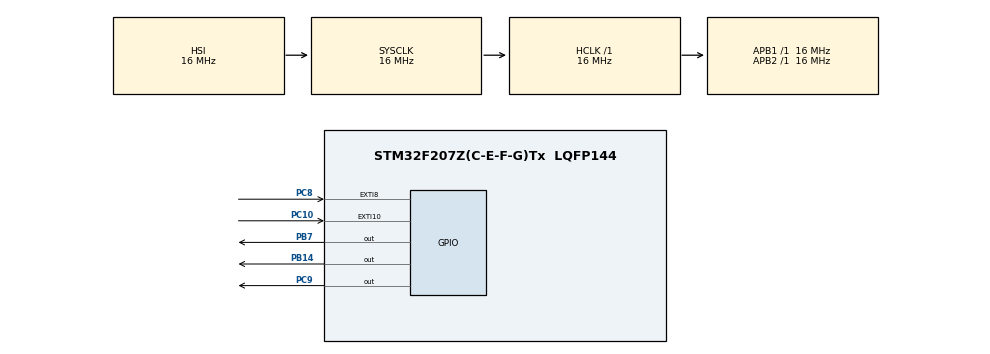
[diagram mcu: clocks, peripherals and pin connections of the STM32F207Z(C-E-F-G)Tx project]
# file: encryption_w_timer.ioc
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Mcu.Family=STM32F2
Mcu.Name=STM32F207Z(C-E-F-G)Tx
Mcu.Package=LQFP144
NVIC.EXTI15_10_IRQn=true\:0\:0\:false\:false\:true\:true\:true\:true
NVIC.EXTI9_5_IRQn=true\:0\:0\:false\:false\:true\:true\:true\:true
NVIC.PriorityGroup=NVIC_PRIORITYGROUP_4
NVIC.TIM3_IRQn=true\:0\:0\:false\:false\:true\:true\:true\:true
PB14.Signal=GPIO_Output
PB7.Signal=GPIO_Output
PC10.GPIO_ModeDefaultEXTI=GPIO_MODE_IT_RISING
PC10.GPIO_PuPd=GPIO_PULLDOWN
PC10.Signal=GPXTI10
PC8.GPIO_ModeDefaultEXTI=GPIO_MODE_IT_RISING
PC8.GPIO_PuPd=GPIO_PULLDOWN
PC8.Signal=GPXTI8
PC9.GPIO_PuPd=GPIO_PULLDOWN
PC9.Signal=GPIO_Output
ProjectManager.HeapSize=0x200
ProjectManager.StackSize=0x400
ProjectManager.TargetToolchain=STM32CubeIDE
RCC.48MHZClocksFreq_Value=48000000
RCC.AHBFreq_Value=16000000
RCC.APB1Freq_Value=16000000
RCC.APB2Freq_Value=16000000
RCC.CortexFreq_Value=16000000
RCC.HSE_VALUE=25000000
RCC.HSI_VALUE=16000000
RCC.LSE_VALUE=32768
RCC.SYSCLKFreq_VALUE=16000000
RCC.VCOOutputFreq_Value=192000000
TIM3.Period=2 - 1
TIM3.Prescaler=1600 - 1
VP_TIM3_VS_ClockSourceINT.Mode=Internal
board=custom

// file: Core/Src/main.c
/* USER CODE BEGIN Header */
/**
  ******************************************************************************
  * @file           : main.c
  * @brief          : Main program body
  ******************************************************************************
  * @attention
  *
  * Copyright (c) 2023 STMicroelectronics.
  * All rights reserved.
  *
  * This software is licensed under terms that can be found in the LICENSE file
  * in the root directory of this software component.
  * If no LICENSE file comes with this software, it is provided AS-IS.
  *
  ******************************************************************************
  */
/* USER CODE END Header */
#include "main.h"

TIM_HandleTypeDef htim3;

/* USER CODE BEGIN PV */
static int index = 0;
int sequence[4] = {8, 10, 8, 8};
int counter = 0;
int counter2 = 0;
/* USER CODE END PV */

void SystemClock_Config(void);
static void MX_GPIO_Init(void);
static void MX_TIM3_Init(void);

/* USER CODE BEGIN 0 */
void HAL_TIM_PeriodElapsedCallback(TIM_HandleTypeDef *htim)
{
	static int i = 0;

	if (i < 5 && counter)
	{
		if (HAL_GPIO_ReadPin(GPIOC, GPIO_PIN_8) == GPIO_PIN_SET)
		{
			i++;
		}
		else {
			i = 0;
			counter = 0;
			HAL_TIM_Base_Stop(&htim3);
		}
	}
	if (i == 5 && counter)
	{
		HAL_GPIO_TogglePin(GPIOB, GPIO_PIN_7);
		if (sequence[index] == 8)
		{
			index++;
			i = 0;
			counter = 0;
		}
		else
		{
			index = 0;
			i = 0;
			counter = 0;
		}
		HAL_TIM_Base_Stop(&htim3);
	}
	if (i < 5 && counter2)
	{
		if (HAL_GPIO_ReadPin(GPIOC, GPIO_PIN_10) == GPIO_PIN_SET)
			i++;
		else
		{
			i = 0;
			counter2 = 0;
			HAL_TIM_Base_Stop(&htim3);
		}
	}
	if (i == 5 && counter2)
	{
		HAL_GPIO_TogglePin(GPIOB, GPIO_PIN_7);
		if (sequence[index] == 10)
		{
			index++;
			i = 0;
			counter2 = 0;
		}
		else
		{
			index = 0;
			i = 0;
			counter2 = 0;
		}
		HAL_TIM_Base_Stop(&htim3);
	}
	if (index == 4)
	{
		HAL_GPIO_TogglePin(GPIOB, GPIO_PIN_14);
		index = 0;
		HAL_TIM_Base_Stop(&htim3);
	}
}

void HAL_GPIO_EXTI_Callback(uint16_t GPIO_Pin)
{
	  if (GPIO_Pin == GPIO_PIN_8)
		  {
			  counter = 1;
			  HAL_TIM_Base_Start(&htim3);
		  }
		  if (GPIO_Pin == GPIO_PIN_10)
		  {
			  counter2 = 1;
			  HAL_TIM_Base_Start(&htim3);
		  }
}

/* USER CODE END 0 */

int main(void)
{

  /* MCU Configuration--------------------------------------------------------*/

  /* Reset of all peripherals, Initializes the Flash interface and the Systick. */
  HAL_Init();

  /* Configure the system clock */
  SystemClock_Config();

  /* Initialize all configured peripherals */
  MX_GPIO_Init();
  MX_TIM3_Init();
  /* USER CODE BEGIN 2 */
  if (__HAL_TIM_GET_FLAG(&htim3, TIM_FLAG_UPDATE) != RESET)
  __HAL_TIM_CLEAR_FLAG(&htim3, TIM_FLAG_UPDATE);
  HAL_TIM_Base_Start_IT(&htim3);
  /* USER CODE END 2 */

  /* Infinite loop */
  while (1)
  {

  }
}

void SystemClock_Config(void)
{
  RCC_OscInitTypeDef RCC_OscInitStruct = {0};
  RCC_ClkInitTypeDef RCC_ClkInitStruct = {0};

  /** Initializes the RCC Oscillators according to the specified parameters
  * in the RCC_OscInitTypeDef structure.
  */
  RCC_OscInitStruct.OscillatorType = RCC_OSCILLATORTYPE_HSI;
  RCC_OscInitStruct.HSIState = RCC_HSI_ON;
  RCC_OscInitStruct.HSICalibrationValue = RCC_HSICALIBRATION_DEFAULT;
  RCC_OscInitStruct.PLL.PLLState = RCC_PLL_NONE;
  if (HAL_RCC_OscConfig(&RCC_OscInitStruct) != HAL_OK)
  {
    Error_Handler();
  }

  /** Initializes the CPU, AHB and APB buses clocks
  */
  RCC_ClkInitStruct.ClockType = RCC_CLOCKTYPE_HCLK|RCC_CLOCKTYPE_SYSCLK
                              |RCC_CLOCKTYPE_PCLK1|RCC_CLOCKTYPE_PCLK2;
  RCC_ClkInitStruct.SYSCLKSource = RCC_SYSCLKSOURCE_HSI;
  RCC_ClkInitStruct.AHBCLKDivider = RCC_SYSCLK_DIV1;
  RCC_ClkInitStruct.APB1CLKDivider = RCC_HCLK_DIV1;
  RCC_ClkInitStruct.APB2CLKDivider = RCC_HCLK_DIV1;

  if (HAL_RCC_ClockConfig(&RCC_ClkInitStruct, FLASH_LATENCY_0) != HAL_OK)
  {
    Error_Handler();
  }
}

static void MX_TIM3_Init(void)
{

  TIM_ClockConfigTypeDef sClockSourceConfig = {0};
  TIM_MasterConfigTypeDef sMasterConfig = {0};

  htim3.Instance = TIM3;
  htim3.Init.Prescaler = 1600 - 1;
  htim3.Init.CounterMode = TIM_COUNTERMODE_UP;
  htim3.Init.Period = 2 - 1;
  htim3.Init.ClockDivision = TIM_CLOCKDIVISION_DIV1;
  htim3.Init.AutoReloadPreload = TIM_AUTORELOAD_PRELOAD_DISABLE;
  if (HAL_TIM_Base_Init(&htim3) != HAL_OK)
  {
    Error_Handler();
  }
  sClockSourceConfig.ClockSource = TIM_CLOCKSOURCE_INTERNAL;
  if (HAL_TIM_ConfigClockSource(&htim3, &sClockSourceConfig) != HAL_OK)
  {
    Error_Handler();
  }
  sMasterConfig.MasterOutputTrigger = TIM_TRGO_RESET;
  sMasterConfig.MasterSlaveMode = TIM_MASTERSLAVEMODE_DISABLE;
  if (HAL_TIMEx_MasterConfigSynchronization(&htim3, &sMasterConfig) != HAL_OK)
  {
    Error_Handler();
  }

}

static void MX_GPIO_Init(void)
{
  GPIO_InitTypeDef GPIO_InitStruct = {0};

  /* GPIO Ports Clock Enable */
  __HAL_RCC_GPIOB_CLK_ENABLE();
  __HAL_RCC_GPIOC_CLK_ENABLE();

  /*Configure GPIO pin Output Level */
  HAL_GPIO_WritePin(GPIOB, GPIO_PIN_14|GPIO_PIN_7, GPIO_PIN_RESET);

  /*Configure GPIO pin Output Level */
  HAL_GPIO_WritePin(GPIOC, GPIO_PIN_9, GPIO_PIN_RESET);

  /*Configure GPIO pins : PB14 PB7 */
  GPIO_InitStruct.Pin = GPIO_PIN_14|GPIO_PIN_7;
  GPIO_InitStruct.Mode = GPIO_MODE_OUTPUT_PP;
  GPIO_InitStruct.Pull = GPIO_NOPULL;
  GPIO_InitStruct.Speed = GPIO_SPEED_FREQ_LOW;
  HAL_GPIO_Init(GPIOB, &GPIO_InitStruct);

  /*Configure GPIO pins : PC8 PC10 */
  GPIO_InitStruct.Pin = GPIO_PIN_8|GPIO_PIN_10;
  GPIO_InitStruct.Mode = GPIO_MODE_IT_RISING;
  GPIO_InitStruct.Pull = GPIO_PULLDOWN;
  HAL_GPIO_Init(GPIOC, &GPIO_InitStruct);

  /*Configure GPIO pin : PC9 */
  GPIO_InitStruct.Pin = GPIO_PIN_9;
  GPIO_InitStruct.Mode = GPIO_MODE_OUTPUT_PP;
  GPIO_InitStruct.Pull = GPIO_PULLDOWN;
  GPIO_InitStruct.Speed = GPIO_SPEED_FREQ_LOW;
  HAL_GPIO_Init(GPIOC, &GPIO_InitStruct);

  /* EXTI interrupt init*/
  HAL_NVIC_SetPriority(EXTI9_5_IRQn, 0, 0);
  HAL_NVIC_EnableIRQ(EXTI9_5_IRQn);

  HAL_NVIC_SetPriority(EXTI15_10_IRQn, 0, 0);
  HAL_NVIC_EnableIRQ(EXTI15_10_IRQn);

}

void Error_Handler(void)
{
  __disable_irq();
  while (1)
  {
  }
}
